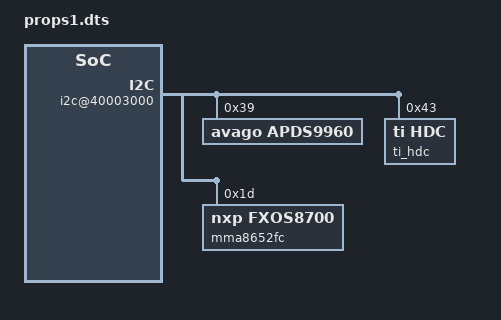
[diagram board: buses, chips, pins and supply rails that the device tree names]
/dts-v1/;

/ {
        soc {
                i2c@40003000 {
                        compatible = "nordic,nrf-twim";
                        reg = <0x40003000 0x1000>;

                        apds9960@39 {
                                compatible = "avago,apds9960";
                                reg = <0x39>;
                        };
                        ti_hdc@43 {
                                compatible = "ti,hdc", "ti,hdc1010";
                                reg = <0x43>;
                        };
                        mma8652fc@1d {
                                compatible = "nxp,fxos8700", "nxp,mma8652fc";
                                reg = <0x1d>;
                        };
                };
        };
};
